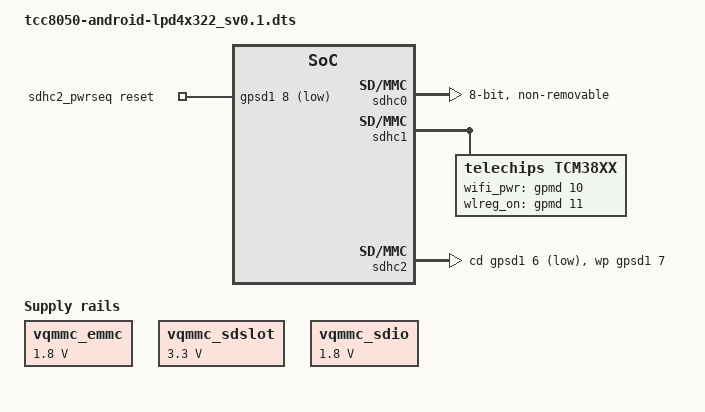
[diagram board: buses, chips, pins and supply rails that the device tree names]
// SPDX-License-Identifier: (GPL-2.0-or-later OR MIT)
/*
 * Copyright (C) Telechips Inc.
 * Device tree for Telechips TCC8050 AVN board
 */

#ifndef DT_OVERLAY
/dts-v1/;
#endif

#include "tcc8050-android-avn.dtsi"


/ {
	/* Describe here after remove this statement if you have something to be override. */
	vqmmc_emmc: vqmmc_emmc {
		compatible = "regulator-fixed";
		regulator-name = "vqmmc_emmc";
		regulator-min-microvolt = <1800000>;
		regulator-max-microvolt = <1800000>;
		regulator-always-on;
	};

	sdhc2_pwrseq: sdhc2_pwrseq {
		compatible = "mmc-pwrseq-simple";
		reset-gpios = <&gpsd1 8 GPIO_ACTIVE_LOW>;
	};

	vqmmc_sdslot: vqmmc_sdslot {
		compatible = "regulator-fixed";
		regulator-name = "vqmmc_sdslot";
		regulator-min-microvolt = <3300000>;
		regulator-max-microvolt = <3300000>;
		regulator-always-on;
	};

	vqmmc_sdio: vqmmc_sdio {
		compatible = "regulator-fixed";
		regulator-name = "vqmmc_sdio";
		regulator-min-microvolt = <1800000>;
		regulator-max-microvolt = <1800000>;
		regulator-always-on;
	};
};

/* eMMC */
&sdhc0 {
	status = "okay";
	bus-width = <8>;
	pinctrl-names = "default";
	pinctrl-0 = <&sd0_clk &sd0_cmd &sd0_bus8>;

	sdhci-caps-mask = <0x7 0x0>;

	non-removable;
	keep-power-in-suspend;
	disable-wp;
	cap-mmc-hw-reset;

	tcc-mmc-reset = <&gpsd0 14 0>;

	vqmmc-supply = <&vqmmc_emmc>;
};

&sd0_clk {
	telechips,no-pull;
};

&sd0_cmd {
	telechips,no-pull;
};

&sd0_bus8 {
	telechips,no-pull;
};

/* SDIO */
&sdhc1 {
	status = "okay";
	pinctrl-names = "default";
	pinctrl-0 = <&sd1_clk &sd1_cmd &sd1_bus4 &out0_clk>;

	keep-power-in-suspend;
	cap-sdio-irq;

	vqmmc-supply = <&vqmmc_sdio>;

	cd-force-presence-change;

	tcm38xx {
		compatible = "telechips,tcm38xx";
		wifi_pwr-gpio = <&gpmd 10 0>; /* BT_WIFI_VBAT_EN */
		wlreg_on-gpio = <&gpmd 11 0>; /* WIFI_REG_ON */
		//wifi_pwr_1p8v-gpio = <&gpsd1 6 0>;
		//wifi_pwr_3p3v-gpio = <&gpsd1 7 0>;
	};
};

&sd1_clk {
	telechips,pull-up;
};

&sd1_cmd {
	telechips,pull-up;
};

&sd1_bus4 {
	telechips,pull-up;
};

/* SD slot */
&sdhc2 {
#ifdef CONFIG_MMC_SDHCI_TCC_MODULE_ONLY
	/*
	 * In order to reduce boot time,
	 * we use the driver as module not built-in.
	 */
	compatible = "telechips,tcc805x-sdhci,module-only";
#endif
	status = "okay";
	pinctrl-names = "default";
	pinctrl-0 = <&sd2_clk &sd2_cmd &sd2_bus4 &sd1_bus4_wp_cd>;

	broken-cd;
	cd-inverted;
	keep-power-in-suspend;

	wp-gpios = <&gpsd1 7 0>;
	cd-gpios = <&gpsd1 6 0>;

	mmc-pwrseq = <&sdhc2_pwrseq>;
	vqmmc-supply = <&vqmmc_sdslot>;
};

&sd2_clk {
	telechips,no-pull;
};

&sd2_cmd {
	telechips,no-pull;
};

&sd2_bus4 {
	telechips,no-pull;
};
